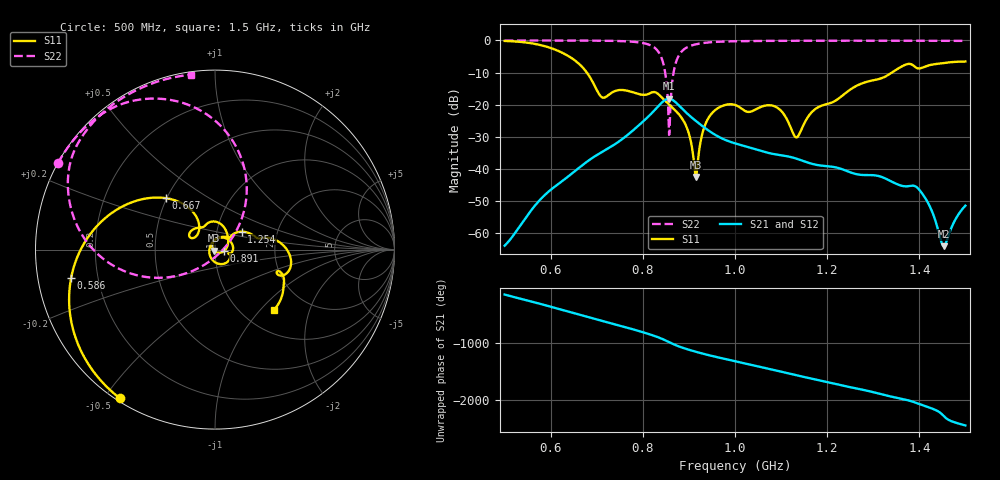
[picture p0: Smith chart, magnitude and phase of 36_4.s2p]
! TOUCHSTONE file generated by CST MICROWAVE STUDIO
! Date and time: Fri Oct  2 17:00:26 2020
! Project name: Scenario_1_Free_Space_out_of_line.cst
! Parameters = {Lambda=346.42; Step_1=17.321; dy1=-259.295; dx1=693; L_HA=400; MT=2.54; Rad_Dielectric=30; Rad_Lower=7.3; Rad_Upper=30; a_HA=580; a_WG=246; b_HA=500; b_WG=121; c_HA=0; c_WG=187; d_feed=85; h_feed=15; h_lower=18; h_upper=40}
! Header version: 2018
! Port assignment regex: !\s*Touchstone port\s*([0-9]+)\s*=\s*(CST MWS port|CST DS port)\s*([0-9]+|Zmin|Zmax)\s*\(\"(.*)\"\)(\s*mode\s*([0-9]+))?.*
! Touchstone port assignment:
! Touchstone port 1 = CST MWS port 1 ("")
! Touchstone port 2 = CST MWS port 2 ("")
# GHz S DB R 50
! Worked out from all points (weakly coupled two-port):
!   1003 points, 500 MHz to 1.5 GHz, reference 50 ohm
!   highest |S21| = -18.16 dB at 856 MHz (marker M1); lowest = -64.1 dB at 1.453 GHz (marker M2)
!   lowest |S11| = -42.5 dB at 915 MHz (marker M3), VSWR 1.02, Z = 49.5 - j0.51 ohm
!   |S11| at or under -10 dB: 678.5 MHz to 1.34 GHz (662 MHz wide, 65.6 % of centre)
!   |S22| runs from -29.4 to 0.0 dB; largest |S21 - S12| = 2.6e-05
!   S11 on the Smith chart (normalised r, x): 500 MHz: 0.01, -0.55; 586 MHz: 0.10, -0.10; 667 MHz: 0.50, +0.34; 891 MHz: 1.11, -0.02; 1.254 GHz: 1.32, +0.27; 1.5 GHz: 1.37, -1.19
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0.5  -0.15 -122.6  -63.91 -127.4  -63.91 -127.4  -0.01 151.1
0.586  -1.74 -168.7  -48.29 46.7  -48.29 46.7  -0.02 145.2
0.667  -8.05 133.6  -39.04 -136.0  -39.04 -136.0  -0.04 138.3
0.713  -17.81 139.6  -34.60 117.7  -34.60 117.7  -0.09 133.1
0.789  -16.62 123.3  -26.72 -51.8  -26.72 -51.8  -0.56 117.1
0.834  -16.77 76.2  -20.41 -171.6  -20.41 -171.6  -3.59 84.8
0.846  -18.44 58.3  -18.76 147.1  -18.76 147.1  -8.17 63.1
0.856  -19.83 45.6  -18.16 108.2  -18.16 108.2  -24.69 13.5
0.86  -20.36 40.4  -18.24 92.3  -18.24 92.3  -19.89 -124.4
0.87  -21.72 26.9  -19.11 55.0  -19.11 55.0  -7.74 -158.1
0.891  -25.75 -8.3  -22.05 -8.5  -22.05 -8.5  -2.59 173.9
0.915  -42.53 -136.4  -25.06 -67.5  -25.06 -67.5  -1.21 159.7
0.943  -24.00 79.5  -28.09 -128.1  -28.09 -128.1  -0.61 150.6
1  -20.07 -3.3  -32.04 124.5  -32.04 124.5  -0.25 140.1
1.089  -20.71 -59.8  -35.50 -41.1  -35.50 -41.1  -0.13 130.6
1.133  -30.19 169.5  -36.79 -125.5  -36.79 -125.5  -0.11 126.9
1.167  -22.28 65.0  -38.41 172.9  -38.41 172.9  -0.09 124.1
1.254  -14.93 33.9  -41.26 13.8  -41.26 13.8  -0.08 117.5
1.334  -10.60 13.0  -43.52 -137.3  -43.52 -137.3  -0.09 111.4
1.4  -8.73 -19.6  -46.50 80.4  -46.50 80.4  -0.10 106.2
1.453  -7.00 -32.1  -64.06 -132.6  -64.07 -132.6  -0.12 101.9
1.5  -6.56 -45.9  -51.44 59.0  -51.36 59.0  -0.14 97.8
